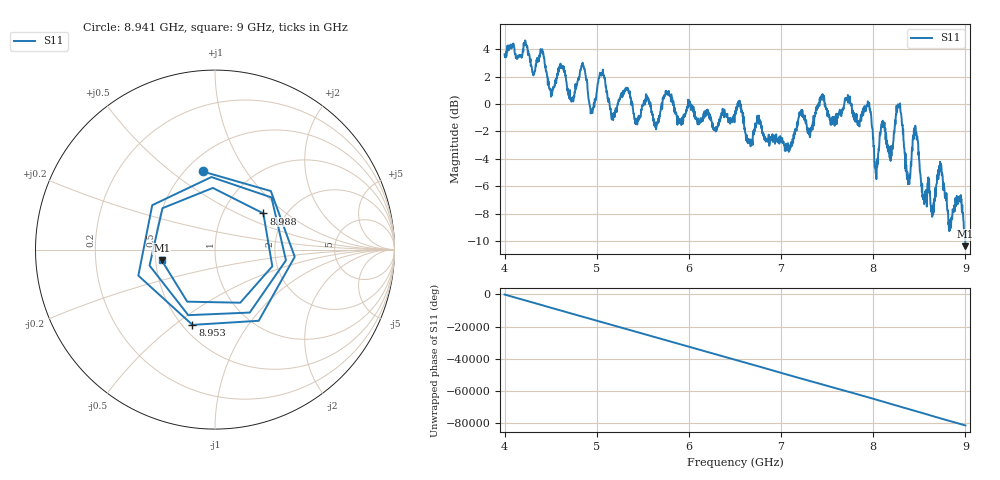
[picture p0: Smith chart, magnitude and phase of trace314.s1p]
! Created with skrf 1.8.0 (http://scikit-rf.org).
# Hz S RI R 50.0
!freq ReS11 ImS11
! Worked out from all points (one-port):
!   1601 points, 4 GHz to 9 GHz, reference 50 ohm
!   lowest |S11| = -10.4 dB at 9 GHz (marker M1), VSWR 1.87, Z = 26.9 - j3.56 ohm
!   |S11| at or under -10 dB: 8.998424 GHz to end of sweep
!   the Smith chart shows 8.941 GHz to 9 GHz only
!   S11 on the Smith chart (normalised r, x): 8.941 GHz: 0.61, +0.65; 8.953 GHz: 0.56, -0.58; 8.988 GHz: 1.54, +0.70; 9 GHz: 0.54, -0.07
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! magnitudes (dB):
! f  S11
! 4 GHz  3.6
! 4.406 GHz  3.9
! 4.506 GHz  0.7
! 4.625 GHz  2.8
! 4.725 GHz  0.2
! 4.844 GHz  2.8
! 4.941 GHz  -0.4
! 5.05 GHz  2.1
! 5.169 GHz  -0.7
! 5.25 GHz  0.4
! 5.875 GHz  -1.5
! 6.5 GHz  -0.6
! 7.125 GHz  -2.5
! 7.444 GHz  0.7
! 7.75 GHz  0.2
! 7.953 GHz  -0.1
! 8.034 GHz  -5.5
! 8.278 GHz  -0.2
! 8.375 GHz  -5.4
! 8.459 GHz  -1.8
! 8.559 GHz  -7.1
! 8.644 GHz  -8.1
! 8.728 GHz  -4.6
! 8.831 GHz  -8.5
! 8.941 GHz  -7.1
! 8.953 GHz  -7.2
! 8.988 GHz  -9.5
! 9 GHz  -10.4
